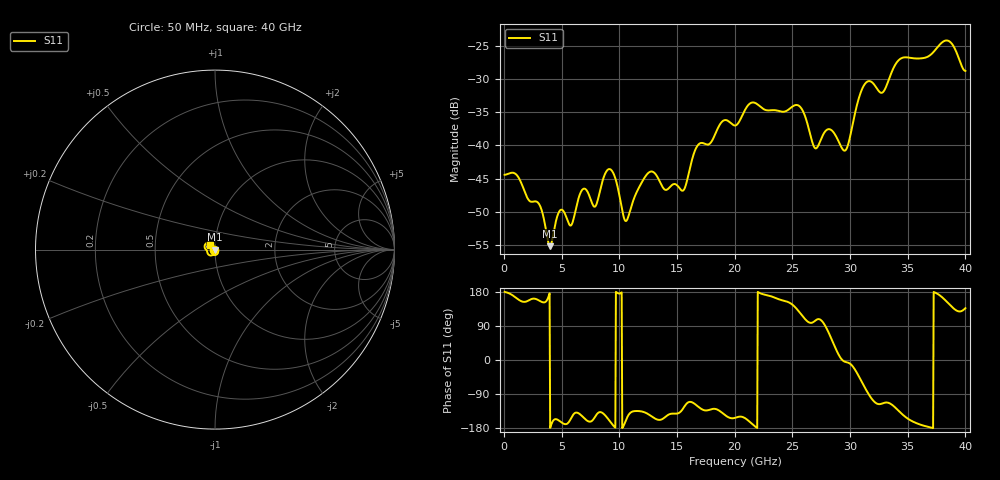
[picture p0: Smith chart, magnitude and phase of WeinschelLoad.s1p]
! C:\Work\SPARQ2\Technical\Relays\WeinschelLoad.s1p
! Tue Aug  7 09:53:37 2018
!!Measured using LeCroy SPARQ LCRY2401N02001
!SingleEnded
! freq S11
# MHz S MA R 50.00
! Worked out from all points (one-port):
!   800 points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, 50 MHz to 40 GHz, reference 50 ohm
!   lowest |S11| = -55.2 dB at 4 GHz (marker M1), VSWR 1.00, Z = 49.8 - j0.00203 ohm
!   |S11| at or under -10 dB: start of sweep to end of sweep
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50  0.006 179.7
3000  0.003652 157.7
4000  0.001738 -179.3
5050  0.003261 -166.1
5800  0.002489 -154.5
6950  0.004719 -153.6
7900  0.003458 -149.6
9100  0.006621 -158.5
10050  0.003991 175.6
10600  0.002696 -156.8
12600  0.006282 -144.8
15050  0.004954 -141.0
15650  0.00472 -122.3
16850  0.01014 -123.5
19050  0.01542 -142.7
20050  0.01412 -152.4
21450  0.02097 -167.2
25050  0.01973 144.8
25850  0.01857 117.1
27000  0.00949 104.3
28200  0.01325 68.6
29550  0.009122 -4.6
30050  0.01215 -10.9
31300  0.02914 -73.7
32800  0.02499 -114.8
35050  0.04592 -155.7
38450  0.06166 151.8
40000  0.03642 136.8
